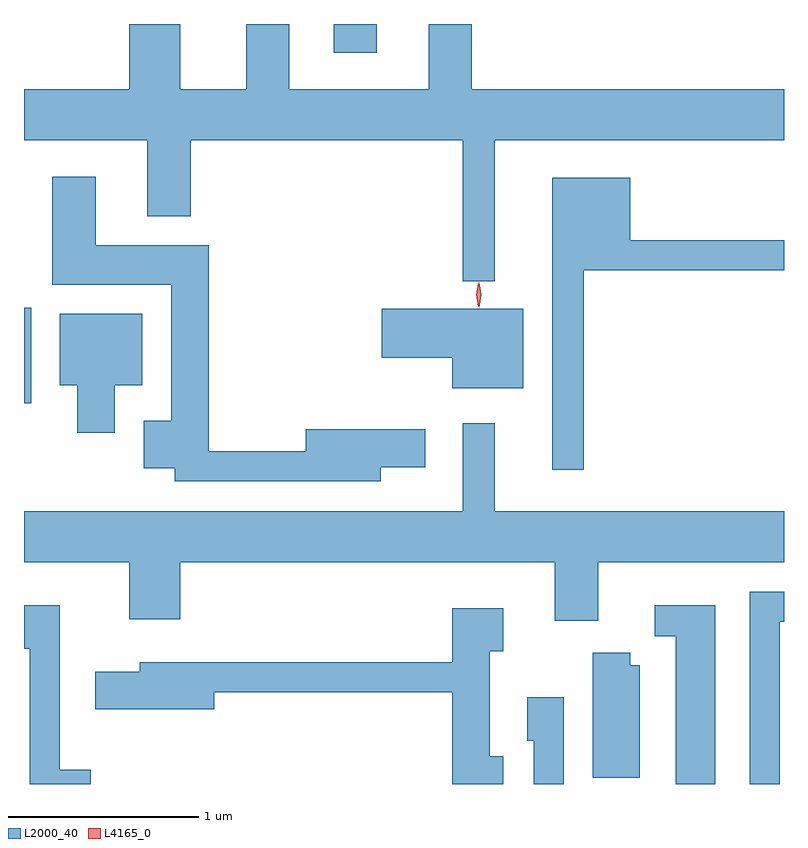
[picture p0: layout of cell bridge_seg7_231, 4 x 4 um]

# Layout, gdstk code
import gdstk
lib = gdstk.Library(unit=1e-6, precision=1e-09)
def R(c, l, rs):  # rectangles x0, y0, x1, y1
    for r in rs: c.add(gdstk.rectangle(r[:2], r[2:], *l))
def P(c, l, *ps):  # polygons
    for p in ps: c.add(gdstk.Polygon(p, *l))
L2000_40 = (2000, 40)
L4165_0 = (4165, 0)

bridge_seg7_231 = lib.new_cell('bridge_seg7_231')
R(bridge_seg7_231, L2000_40, [(1673.062,1717.371,1673.099,1717.874), (1674.691,1719.216,1674.919,1719.368)])
P(bridge_seg7_231, L2000_40, [(1675.539,1718.756),(1677.062,1718.756),(1677.062,1719.024),(1675.419,1719.024),(1675.419,1719.368),(1675.191,1719.368),(1675.191,1719.024),(1674.459,1719.024),(1674.459,1719.368),(1674.231,1719.368),(1674.231,1719.024),(1673.884,1719.024),(1673.884,1719.368),(1673.616,1719.368),(1673.616,1719.024),(1673.062,1719.024),(1673.062,1718.756),(1673.711,1718.756),(1673.711,1718.356),(1673.939,1718.356),(1673.939,1718.756),(1675.371,1718.756),(1675.371,1718.013),(1675.539,1718.013)],
  [(1674.939,1717.036),(1675.174,1717.036),(1675.174,1717.234),(1674.546,1717.234),(1674.546,1717.119),(1674.034,1717.119),(1674.034,1718.204),(1673.439,1718.204),(1673.439,1718.564),(1673.211,1718.564),(1673.211,1717.996),(1673.836,1717.996),(1673.836,1717.279),(1673.691,1717.279),(1673.691,1717.031),(1673.856,1717.031),(1673.856,1716.961),(1674.939,1716.961)],
  [(1676.009,1718.071),(1677.062,1718.071),(1677.062,1718.229),(1676.254,1718.229),(1676.254,1718.559),(1675.841,1718.559),(1675.841,1717.023),(1676.009,1717.023)],
  [(1675.689,1717.869),(1674.946,1717.869),(1674.946,1717.611),(1675.316,1717.611),(1675.316,1717.451),(1675.689,1717.451)],
  [(1673.539,1717.466),(1673.684,1717.466),(1673.684,1717.844),(1673.251,1717.844),(1673.251,1717.466),(1673.341,1717.466),(1673.341,1717.216),(1673.539,1717.216)],
  [(1676.084,1716.536),(1677.062,1716.536),(1677.062,1716.804),(1675.539,1716.804),(1675.539,1717.268),(1675.371,1717.268),(1675.371,1716.804),(1673.062,1716.804),(1673.062,1716.536),(1673.616,1716.536),(1673.616,1716.236),(1673.884,1716.236),(1673.884,1716.536),(1675.856,1716.536),(1675.856,1716.226),(1676.084,1716.226)],
  [(1677.039,1716.221),(1677.062,1716.221),(1677.062,1716.379),(1676.881,1716.379),(1676.881,1715.368),(1677.039,1715.368)],
  [(1673.414,1715.444),(1673.249,1715.444),(1673.249,1716.309),(1673.062,1716.309),(1673.062,1716.081),(1673.091,1716.081),(1673.091,1715.368),(1673.414,1715.368)],
  [(1676.699,1716.309),(1676.383,1716.309),(1676.383,1716.146),(1676.491,1716.146),(1676.491,1715.368),(1676.699,1715.368)],
  [(1675.584,1715.514),(1675.514,1715.514),(1675.514,1716.066),(1675.584,1716.066),(1675.584,1716.294),(1675.316,1716.294),(1675.316,1716.009),(1673.671,1716.009),(1673.671,1715.959),(1673.436,1715.959),(1673.436,1715.761),(1674.064,1715.761),(1674.064,1715.851),(1675.316,1715.851),(1675.316,1715.368),(1675.584,1715.368)],
  [(1676.304,1715.994),(1676.254,1715.994),(1676.254,1716.059),(1676.056,1716.059),(1676.056,1715.401),(1676.304,1715.401)],
  [(1675.904,1715.824),(1675.711,1715.824),(1675.711,1715.596),(1675.746,1715.596),(1675.746,1715.368),(1675.904,1715.368)])
P(bridge_seg7_231, L4165_0, [(1675.458,1717.874),(1675.458,1717.874),(1675.448,1717.942),(1675.457,1718.01),(1675.458,1718.01),(1675.458,1718.01),(1675.468,1717.942),(1675.459,1717.874)],
  [(1675.452,1717.88),(1675.452,1717.88),(1675.442,1717.943),(1675.452,1718.006),(1675.452,1718.007),(1675.453,1718.006),(1675.462,1717.943),(1675.453,1717.88)])

lib.write_gds('bridge_seg7_231.gds')
